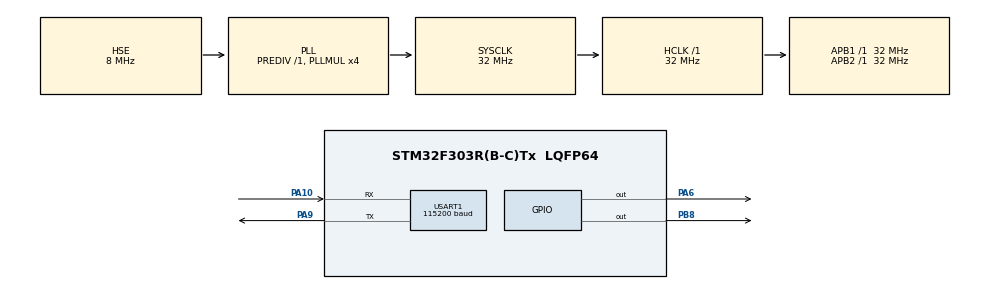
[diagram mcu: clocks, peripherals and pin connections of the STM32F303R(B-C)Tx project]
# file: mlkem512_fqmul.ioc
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Mcu.Family=STM32F3
Mcu.Name=STM32F303R(B-C)Tx
Mcu.Package=LQFP64
NVIC.PriorityGroup=NVIC_PRIORITYGROUP_4
PA10.Mode=Asynchronous
PA10.Signal=USART1_RX
PA6.PinState=GPIO_PIN_RESET
PA6.Signal=GPIO_Output
PA9.Mode=Asynchronous
PA9.Signal=USART1_TX
PB8.PinState=GPIO_PIN_SET
PB8.Signal=GPIO_Output
PF0-OSC_IN.Mode=HSE-External-Oscillator
PF0-OSC_IN.Signal=RCC_OSC_IN
PF1-OSC_OUT.Mode=HSE-External-Oscillator
PF1-OSC_OUT.Signal=RCC_OSC_OUT
ProjectManager.HeapSize=0x200
ProjectManager.StackSize=0x400
ProjectManager.TargetToolchain=STM32CubeIDE
RCC.AHBFreq_Value=32000000
RCC.APB1Freq_Value=32000000
RCC.APB1TimFreq_Value=32000000
RCC.APB2Freq_Value=32000000
RCC.APB2TimFreq_Value=32000000
RCC.CortexFreq_Value=32000000
RCC.HCLKFreq_Value=32000000
RCC.HSE_VALUE=8000000
RCC.HSI_VALUE=8000000
RCC.LSE_VALUE=32768
RCC.PLLMUL=RCC_PLL_MUL4
RCC.PLLSourceVirtual=RCC_PLLSOURCE_HSE
RCC.SYSCLKFreq_VALUE=32000000
RCC.SYSCLKSourceVirtual=RCC_SYSCLKSOURCE_PLLCLK
RCC.USBFreq_Value=32000000
USART1.BaudRate=115200
USART1.VirtualMode-Asynchronous=VM_ASYNC
board=custom

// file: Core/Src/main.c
/* USER CODE BEGIN Header */
/**
  ******************************************************************************
  * @file           : main.c
  * @brief          : Main program body
  ******************************************************************************
  * @attention
  *
  * Copyright (c) 2024 STMicroelectronics.
  * All rights reserved.
  *
  * This software is licensed under terms that can be found in the LICENSE file
  * in the root directory of this software component.
  * If no LICENSE file comes with this software, it is provided AS-IS.
  *
  ******************************************************************************
  */
/* USER CODE END Header */
#include "main.h"

/* USER CODE BEGIN Includes */
// ML-KEM-512 PQClean implementation for SCA analysis
#include "params.h"
#include "indcpa.h"
#include <string.h>

/* USER CODE END Includes */

UART_HandleTypeDef huart1;

/* USER CODE BEGIN PV */
// Reason: use the 768-byte INDCPA private key (s_hat) to synchronize the key between the PC and the board during side-channel analysis
static const uint8_t fixed_sk[KYBER_INDCPA_SECRETKEYBYTES] = {
    0x97, 0x29, 0x1d, 0x46, 0x77, 0xaa, 0x51, 0x12, 0x4c, 0xeb, 0xfc, 0x76, 0xe7, 0xbc, 0x2c, 0xf1,
    0x61, 0x46, 0xa6, 0xa4, 0xae, 0x9d, 0xd0, 0xc3, 0x7d, 0xe7, 0x8a, 0x37, 0x10, 0x6b, 0xdf, 0x28,
    0x6d, 0x4c, 0x3a, 0x44, 0xef, 0x80, 0x5b, 0x38, 0x13, 0x61, 0xf5, 0x49, 0x0e, 0x2e, 0x2b, 0x92,
    0xc2, 0xb0, 0xc1, 0x55, 0xfc, 0xcc, 0x30, 0xcb, 0x57, 0xbb, 0x2c, 0x1d, 0xde, 0x42, 0x32, 0x98,
    0x91, 0xba, 0xb5, 0x7a, 0x70, 0xfc, 0x5b, 0x1d, 0x3c, 0x68, 0xa7, 0x36, 0xb7, 0x79, 0xcb, 0x98,
    0x49, 0xb9, 0x19, 0x1c, 0x55, 0x07, 0xcc, 0x5c, 0xa9, 0x57, 0xa6, 0xc9, 0x33, 0x97, 0x77, 0x7e,
    0x0f, 0xd9, 0x29, 0x76, 0x13, 0x56, 0xaa, 0x15, 0x38, 0x02, 0x06, 0xab, 0x54, 0x72, 0x25, 0x5c,
    0x73, 0x4a, 0xf7, 0x70, 0x9d, 0xca, 0x95, 0x6c, 0x21, 0xb2, 0x52, 0x68, 0x34, 0xa8, 0x46, 0x14,
    0x56, 0x08, 0x62, 0xb8, 0x5b, 0x7a, 0x68, 0xcb, 0x0b, 0xcc, 0xd0, 0xb2, 0xc6, 0x97, 0xfc, 0x81,
    0x9d, 0x01, 0xa4, 0x1e, 0x5c, 0x8c, 0x9b, 0xb1, 0x86, 0x87, 0x39, 0xb8, 0x91, 0x8a, 0x1f, 0xb4,
    0x98, 0xb4, 0xcf, 0xa6, 0x6a, 0x4a, 0x35, 0x90, 0x70, 0x0b, 0x44, 0xf8, 0x84, 0x1b, 0xa7, 0xd2,
    0xb7, 0xcb, 0x06, 0x02, 0x99, 0x2d, 0x17, 0x2e, 0x22, 0x92, 0x1f, 0xae, 0xc4, 0xbc, 0x4c, 0x35,
    0x4c, 0xa4, 0x88, 0x4f, 0x48, 0x51, 0x08, 0x37, 0x17, 0x78, 0x40, 0x9b, 0x39, 0xfb, 0x13, 0x24,
    0x54, 0xc8, 0x3f, 0x17, 0x2a, 0x41, 0xf3, 0xb0, 0x35, 0x88, 0xc9, 0xf9, 0x8c, 0x0b, 0x09, 0x31,
    0xc9, 0x74, 0xed, 0x06, 0xcb, 0xad, 0x66, 0x81, 0xee, 0x58, 0x67, 0x3d, 0x07, 0xdf, 0x51, 0x55,
    0xac, 0xfe, 0x86, 0x08, 0x74, 0xa8, 0x06, 0x6b, 0x98, 0xb7, 0xe9, 0x62, 0x21, 0x3b, 0xc3, 0xbe,
    0xa2, 0x26, 0x4c, 0x51, 0x8c, 0x00, 0x21, 0xa7, 0xd8, 0x1a, 0x48, 0x61, 0x7f, 0x05, 0xa9, 0x6b,
    0xa0, 0x82, 0x4e, 0x26, 0xb3, 0xab, 0x20, 0xae, 0xf4, 0xb2, 0x12, 0x07, 0x48, 0x4b, 0xd8, 0x88,
    0x19, 0xa3, 0xbb, 0xb7, 0x03, 0x93, 0x5a, 0xbf, 0x7c, 0x3c, 0x97, 0x02, 0xa1, 0x1b, 0x94, 0x78,
    0xb7, 0x08, 0xf7, 0x4d, 0x6c, 0x84, 0x06, 0xa1, 0xe0, 0x93, 0x65, 0x97, 0x72, 0x01, 0x50, 0x1e,
    0x66, 0x93, 0x48, 0x3a, 0x29, 0x9f, 0x24, 0x19, 0xd8, 0x36, 0x7c, 0xd8, 0x72, 0x03, 0x27, 0xb4,
    0xf5, 0xbc, 0x4a, 0x99, 0xc0, 0xc3, 0xaf, 0xdf, 0x32, 0x85, 0x6c, 0x73, 0x67, 0xb2, 0x95, 0x32,
    0x61, 0x53, 0xb6, 0x1b, 0xcb, 0x4f, 0xc4, 0x55, 0xc0, 0xa8, 0x68, 0xc4, 0x2b, 0x89, 0x07, 0x4e,
    0x9c, 0x3e, 0xe9, 0x50, 0xfa, 0xf0, 0x89, 0xe9, 0xee, 0x81, 0x1b, 0x5e, 0xb6, 0x87, 0x04, 0x48,
    0x68, 0x9b, 0x55, 0x60, 0x15, 0x9b, 0x50, 0xd6, 0x04, 0xd7, 0x70, 0x45, 0x97, 0x9c, 0x42, 0x5c,
    0x53, 0x20, 0x54, 0xe0, 0x88, 0x59, 0x94, 0xc6, 0xac, 0xe3, 0xa5, 0x34, 0xbf, 0x65, 0xa6, 0xd3,
    0x85, 0xdf, 0x34, 0x39, 0xdf, 0x83, 0x14, 0x5b, 0x71, 0x68, 0xa9, 0x11, 0x40, 0xc2, 0xf5, 0xba,
    0xff, 0xee, 0x02, 0x79, 0x78, 0x27, 0xab, 0x5c, 0x00, 0xb0, 0x84, 0x39, 0x92, 0xe5, 0x8b, 0x7f,
    0xd8, 0x79, 0x98, 0x07, 0x05, 0xd1, 0x30, 0x5a, 0xbd, 0x7d, 0x5b, 0x3a, 0x3c, 0x1b, 0xf0, 0xd8,
    0x49, 0x23, 0x84, 0x07, 0xd7, 0xc0, 0x30, 0xbf, 0x25, 0x47, 0x3c, 0x1f, 0x73, 0x3c, 0x11, 0x8a,
    0x88, 0xce, 0x2c, 0x13, 0xc4, 0x59, 0x6e, 0x67, 0x53, 0x7b, 0x8e, 0x58, 0x5c, 0x41, 0x58, 0xea,
    0x34, 0x98, 0x32, 0x43, 0xc0, 0xe4, 0x3a, 0x64, 0xb9, 0xe5, 0x86, 0x15, 0x8e, 0x09, 0xe1, 0x40,
    0x67, 0x46, 0xaf, 0x52, 0x5a, 0x7b, 0x51, 0xf2, 0xfa, 0x65, 0xe1, 0x39, 0x43, 0x8f, 0x02, 0x8a,
    0x01, 0x47, 0xc4, 0x74, 0x4f, 0x27, 0x9d, 0x24, 0x88, 0xbb, 0x57, 0x17, 0xa0, 0x44, 0x27, 0xd1,
    0xd6, 0xc7, 0xf4, 0xc2, 0x37, 0x39, 0x76, 0x30, 0xc9, 0x6f, 0x26, 0x57, 0x9f, 0x08, 0x55, 0x03,
    0x9a, 0x8c, 0x11, 0xc0, 0x8e, 0xd1, 0x5a, 0xbe, 0x95, 0x21, 0x66, 0xf1, 0x1c, 0x07, 0x69, 0xaa,
    0xb3, 0x8c, 0xa8, 0xfe, 0x15, 0x15, 0x97, 0x6c, 0xaa, 0xcd, 0x3a, 0xba, 0xaf, 0x7b, 0x15, 0x2d,
    0x9d, 0x35, 0xba, 0x56, 0x8a, 0xc6, 0xd3, 0x45, 0x90, 0x60, 0x34, 0x59, 0x44, 0x38, 0x88, 0xa9,
    0x56, 0x58, 0x1f, 0x88, 0x33, 0x7a, 0x99, 0xa9, 0x07, 0xb8, 0xbd, 0x4d, 0x2c, 0xcb, 0x1c, 0x0c,
    0x25, 0x82, 0x76, 0x2c, 0xf0, 0x97, 0x5c, 0x94, 0x66, 0x19, 0x10, 0xa4, 0xc2, 0xe1, 0x05, 0x1e,
    0x0e, 0xb0, 0x26, 0x97, 0x59, 0x1b, 0x2c, 0xac, 0xa4, 0xb5, 0xc7, 0x06, 0x8f, 0x89, 0xc2, 0x67,
    0x94, 0x43, 0xfb, 0x9c, 0x26, 0x9f, 0x32, 0x0c, 0xef, 0xb6, 0x06, 0xaf, 0xc1, 0x83, 0xca, 0x6a,
    0x79, 0xce, 0xb6, 0xea, 0x82, 0x86, 0x46, 0x36, 0x75, 0x39, 0xde, 0x60, 0x6a, 0xe6, 0x77, 0x48,
    0xd1, 0xbb, 0x0f, 0x2c, 0x2b, 0x2f, 0x2a, 0x03, 0xd3, 0xd9, 0x21, 0xd2, 0x25, 0x57, 0x49, 0xd0,
    0x28, 0xc0, 0xcb, 0x5c, 0x40, 0xba, 0x47, 0x81, 0x32, 0x45, 0x1b, 0xe1, 0xca, 0xe4, 0x97, 0xa8,
    0x2e, 0xc2, 0xa6, 0x11, 0x5a, 0xb8, 0x92, 0xf8, 0xbb, 0xc6, 0xae, 0x69, 0xee, 0x6e, 0xba, 0x7b,
    0x5b, 0xa2, 0x96, 0xf8, 0x86, 0x40, 0x7a, 0x5a, 0x26, 0xbd, 0x19, 0xfc, 0xfc, 0x67, 0xae, 0x52,
    0x1c, 0x0f, 0x62, 0x16, 0xd5, 0x72, 0x46, 0x93, 0xa0, 0x64, 0x8c, 0x24, 0xba, 0xd2, 0xe5, 0x10
    // 768 bytes for KYBER_INDCPA_SECRETKEYBYTES
};
/* USER CODE END PV */

void SystemClock_Config(void);
static void MX_GPIO_Init(void);
static void MX_USART1_UART_Init(void);

int main(void)
{

  /* USER CODE BEGIN 1 */
	// Reason: decrypt with indcpa_dec, outputting a 32-byte message
	uint8_t m[KYBER_INDCPA_MSGBYTES];
	uint8_t ct[KYBER_INDCPA_BYTES];
	uint8_t ack = 0x06;  // ACK response byte

	int ret = 0;

  /* USER CODE END 1 */

  /* MCU Configuration--------------------------------------------------------*/

  /* Reset of all peripherals, Initializes the Flash interface and the Systick. */
  HAL_Init();

  /* Configure the system clock */
  SystemClock_Config();

  /* Initialize all configured peripherals */
  MX_GPIO_Init();
  MX_USART1_UART_Init();
  /* USER CODE BEGIN 2 */
  // Reason: use a fixed private key; no longer generate the key pair dynamically
  /* USER CODE END 2 */

  /* Infinite loop */
  /* USER CODE BEGIN WHILE */
  while (1)
  {
	  // Reason: clear all UART error flags - this is the key to preventing a hang!
	  __HAL_UART_CLEAR_OREFLAG(&huart1);   // clear the overrun error
	  __HAL_UART_CLEAR_NEFLAG(&huart1);    // clear the noise error
	  __HAL_UART_CLEAR_FEFLAG(&huart1);    // clear the frame error
	  __HAL_UART_CLEAR_PEFLAG(&huart1);    // clear the parity error

	  // Reason: clear the receive data register
	  __HAL_UART_FLUSH_DRREGISTER(&huart1);

	  // Reason: force-reset the receive state machine to prevent a state deadlock
	  if(huart1.RxState != HAL_UART_STATE_READY) {
		  HAL_UART_AbortReceive(&huart1);
		  huart1.RxState = HAL_UART_STATE_READY;
	  }

	  // Reason: use a 5-second timeout instead of waiting indefinitely to prevent permanent blocking
	  ret = HAL_UART_Receive(&huart1, ct, KYBER_INDCPA_BYTES, 5000);
	  if(ret == HAL_OK)
	  {
		 __disable_irq();  // disable interrupts to ensure no interference during acquisition
		 // Reason: the PA6 trigger has been moved inside the basemul function to precisely capture the fqmul operation

		 // Reason: decrypt with pqclean's indcpa_dec; fqmul runs inside the basemul function
		 PQCLEAN_MLKEM512_CLEAN_indcpa_dec(m, ct, fixed_sk);

		 __enable_irq();  // enable interrupts

		 // return the ACK signal and the decryption result
		 HAL_UART_Transmit(&huart1, &ack, 1, 1000);
		 // Reason: return the 32-byte decrypted message for the PC to verify decryption correctness
		 //HAL_UART_Transmit(&huart1, m, KYBER_INDCPA_MSGBYTES, 1000);
	  }
	  else
	  {
		 // Reason: full error recovery; reset all UART state
		 HAL_UART_AbortReceive(&huart1);
		 HAL_UART_AbortTransmit(&huart1);
		 huart1.RxState = HAL_UART_STATE_READY;
		 huart1.gState = HAL_UART_STATE_READY;
	  }

    /* USER CODE END WHILE */

  }
}

void SystemClock_Config(void)
{
  RCC_OscInitTypeDef RCC_OscInitStruct = {0};
  RCC_ClkInitTypeDef RCC_ClkInitStruct = {0};
  RCC_PeriphCLKInitTypeDef PeriphClkInit = {0};

  /** Initializes the RCC Oscillators according to the specified parameters
  * in the RCC_OscInitTypeDef structure.
  */
  RCC_OscInitStruct.OscillatorType = RCC_OSCILLATORTYPE_HSE;
  RCC_OscInitStruct.HSEState = RCC_HSE_ON;
  RCC_OscInitStruct.HSEPredivValue = RCC_HSE_PREDIV_DIV1;
  RCC_OscInitStruct.HSIState = RCC_HSI_ON;
  RCC_OscInitStruct.PLL.PLLState = RCC_PLL_ON;
  RCC_OscInitStruct.PLL.PLLSource = RCC_PLLSOURCE_HSE;
  RCC_OscInitStruct.PLL.PLLMUL = RCC_PLL_MUL4;
  if (HAL_RCC_OscConfig(&RCC_OscInitStruct) != HAL_OK)
  {
    Error_Handler();
  }

  /** Initializes the CPU, AHB and APB buses clocks
  */
  RCC_ClkInitStruct.ClockType = RCC_CLOCKTYPE_HCLK|RCC_CLOCKTYPE_SYSCLK
                              |RCC_CLOCKTYPE_PCLK1|RCC_CLOCKTYPE_PCLK2;
  RCC_ClkInitStruct.SYSCLKSource = RCC_SYSCLKSOURCE_PLLCLK;
  RCC_ClkInitStruct.AHBCLKDivider = RCC_SYSCLK_DIV1;
  RCC_ClkInitStruct.APB1CLKDivider = RCC_HCLK_DIV1;
  RCC_ClkInitStruct.APB2CLKDivider = RCC_HCLK_DIV1;

  if (HAL_RCC_ClockConfig(&RCC_ClkInitStruct, FLASH_LATENCY_1) != HAL_OK)
  {
    Error_Handler();
  }
  PeriphClkInit.PeriphClockSelection = RCC_PERIPHCLK_USART1;
  PeriphClkInit.Usart1ClockSelection = RCC_USART1CLKSOURCE_PCLK2;
  if (HAL_RCCEx_PeriphCLKConfig(&PeriphClkInit) != HAL_OK)
  {
    Error_Handler();
  }
}

static void MX_USART1_UART_Init(void)
{

  huart1.Instance = USART1;
  huart1.Init.BaudRate = 115200;
  huart1.Init.WordLength = UART_WORDLENGTH_8B;
  huart1.Init.StopBits = UART_STOPBITS_1;
  huart1.Init.Parity = UART_PARITY_NONE;
  huart1.Init.Mode = UART_MODE_TX_RX;
  huart1.Init.HwFlowCtl = UART_HWCONTROL_NONE;
  huart1.Init.OverSampling = UART_OVERSAMPLING_16;
  huart1.Init.OneBitSampling = UART_ONE_BIT_SAMPLE_DISABLE;
  huart1.AdvancedInit.AdvFeatureInit = UART_ADVFEATURE_NO_INIT;
  if (HAL_UART_Init(&huart1) != HAL_OK)
  {
    Error_Handler();
  }

}

static void MX_GPIO_Init(void)
{
  GPIO_InitTypeDef GPIO_InitStruct = {0};

  /* GPIO Ports Clock Enable */
  __HAL_RCC_GPIOF_CLK_ENABLE();
  __HAL_RCC_GPIOA_CLK_ENABLE();
  __HAL_RCC_GPIOB_CLK_ENABLE();

  /*Configure GPIO pin Output Level */
  HAL_GPIO_WritePin(GPIOA, GPIO_PIN_6, GPIO_PIN_RESET);

  /*Configure GPIO pin Output Level */
  HAL_GPIO_WritePin(GPIOB, GPIO_PIN_8, GPIO_PIN_SET);

  /*Configure GPIO pin : PA6 */
  GPIO_InitStruct.Pin = GPIO_PIN_6;
  GPIO_InitStruct.Mode = GPIO_MODE_OUTPUT_PP;
  GPIO_InitStruct.Pull = GPIO_NOPULL;
  GPIO_InitStruct.Speed = GPIO_SPEED_FREQ_LOW;
  HAL_GPIO_Init(GPIOA, &GPIO_InitStruct);

  /*Configure GPIO pin : PB8 */
  GPIO_InitStruct.Pin = GPIO_PIN_8;
  GPIO_InitStruct.Mode = GPIO_MODE_OUTPUT_PP;
  GPIO_InitStruct.Pull = GPIO_NOPULL;
  GPIO_InitStruct.Speed = GPIO_SPEED_FREQ_LOW;
  HAL_GPIO_Init(GPIOB, &GPIO_InitStruct);

}

/* USER CODE BEGIN 4 */

int __io_putchar(int ch)
{
	HAL_UART_Transmit(&huart1,(uint8_t *)&ch,1,0xFFFF);

	return ch;
}

/* USER CODE END 4 */

void Error_Handler(void)
{
  __disable_irq();
  while (1)
  {
  }
}
